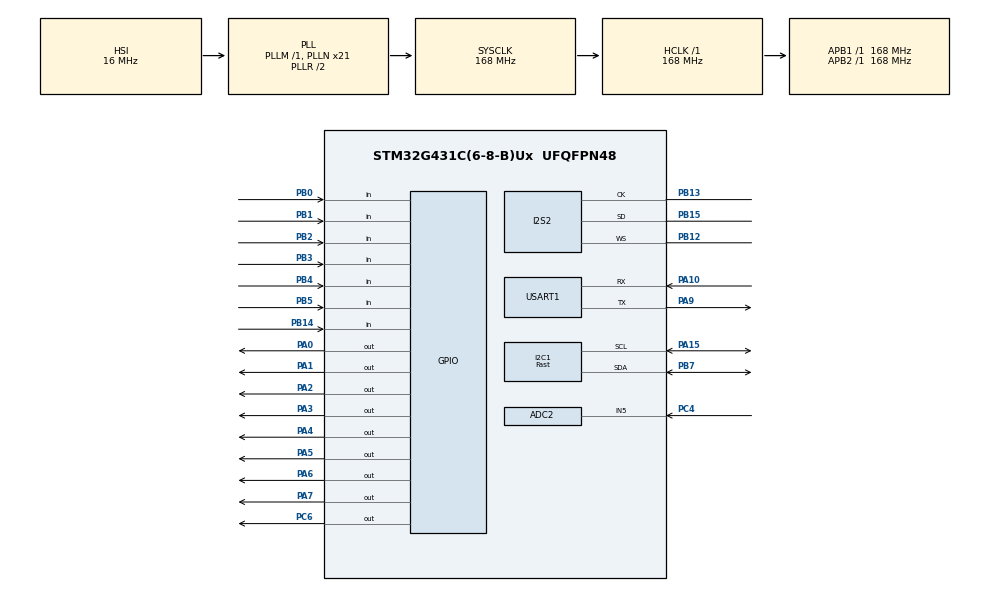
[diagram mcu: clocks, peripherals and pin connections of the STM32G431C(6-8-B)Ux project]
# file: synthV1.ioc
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ADC2.Channel-2\#ChannelRegularConversion=ADC_CHANNEL_5
ADC2.ContinuousConvMode=ENABLE
ADC2.NbrOfConversionFlag=1
ADC2.OffsetNumber-2\#ChannelRegularConversion=ADC_OFFSET_NONE
ADC2.Rank-2\#ChannelRegularConversion=1
ADC2.SamplingTime-2\#ChannelRegularConversion=ADC_SAMPLETIME_12CYCLES_5
Dma.ADC2.4.Direction=DMA_PERIPH_TO_MEMORY
Dma.ADC2.4.EventEnable=DISABLE
Dma.ADC2.4.Instance=DMA1_Channel5
Dma.ADC2.4.MemDataAlignment=DMA_MDATAALIGN_HALFWORD
Dma.ADC2.4.MemInc=DMA_MINC_ENABLE
Dma.ADC2.4.Mode=DMA_CIRCULAR
Dma.ADC2.4.PeriphDataAlignment=DMA_PDATAALIGN_HALFWORD
Dma.ADC2.4.PeriphInc=DMA_PINC_DISABLE
Dma.ADC2.4.Polarity=HAL_DMAMUX_REQ_GEN_RISING
Dma.ADC2.4.Priority=DMA_PRIORITY_LOW
Dma.ADC2.4.RequestNumber=1
Dma.ADC2.4.SignalID=NONE
Dma.ADC2.4.SyncEnable=DISABLE
Dma.ADC2.4.SyncPolarity=HAL_DMAMUX_SYNC_NO_EVENT
Dma.ADC2.4.SyncRequestNumber=1
Dma.ADC2.4.SyncSignalID=NONE
Dma.CORDIC_READ.0.Direction=DMA_PERIPH_TO_MEMORY
Dma.CORDIC_READ.0.EventEnable=DISABLE
Dma.CORDIC_READ.0.Instance=DMA1_Channel2
Dma.CORDIC_READ.0.MemDataAlignment=DMA_MDATAALIGN_WORD
Dma.CORDIC_READ.0.MemInc=DMA_MINC_ENABLE
Dma.CORDIC_READ.0.Mode=DMA_NORMAL
Dma.CORDIC_READ.0.PeriphDataAlignment=DMA_PDATAALIGN_WORD
Dma.CORDIC_READ.0.PeriphInc=DMA_PINC_DISABLE
Dma.CORDIC_READ.0.Polarity=HAL_DMAMUX_REQ_GEN_RISING
Dma.CORDIC_READ.0.Priority=DMA_PRIORITY_LOW
Dma.CORDIC_READ.0.RequestNumber=1
Dma.CORDIC_READ.0.SignalID=NONE
Dma.CORDIC_READ.0.SyncEnable=DISABLE
Dma.CORDIC_READ.0.SyncPolarity=HAL_DMAMUX_SYNC_NO_EVENT
Dma.CORDIC_READ.0.SyncRequestNumber=1
Dma.CORDIC_READ.0.SyncSignalID=NONE
Dma.CORDIC_WRITE.1.Direction=DMA_MEMORY_TO_PERIPH
Dma.CORDIC_WRITE.1.EventEnable=DISABLE
Dma.CORDIC_WRITE.1.Instance=DMA1_Channel3
Dma.CORDIC_WRITE.1.MemDataAlignment=DMA_MDATAALIGN_WORD
Dma.CORDIC_WRITE.1.MemInc=DMA_MINC_ENABLE
Dma.CORDIC_WRITE.1.Mode=DMA_NORMAL
Dma.CORDIC_WRITE.1.PeriphDataAlignment=DMA_PDATAALIGN_WORD
Dma.CORDIC_WRITE.1.PeriphInc=DMA_PINC_DISABLE
Dma.CORDIC_WRITE.1.Polarity=HAL_DMAMUX_REQ_GEN_RISING
Dma.CORDIC_WRITE.1.Priority=DMA_PRIORITY_LOW
Dma.CORDIC_WRITE.1.RequestNumber=1
Dma.CORDIC_WRITE.1.SignalID=NONE
Dma.CORDIC_WRITE.1.SyncEnable=DISABLE
Dma.CORDIC_WRITE.1.SyncPolarity=HAL_DMAMUX_SYNC_NO_EVENT
Dma.CORDIC_WRITE.1.SyncRequestNumber=1
Dma.CORDIC_WRITE.1.SyncSignalID=NONE
Dma.I2C1_TX.3.Direction=DMA_MEMORY_TO_PERIPH
Dma.I2C1_TX.3.EventEnable=DISABLE
Dma.I2C1_TX.3.Instance=DMA1_Channel4
Dma.I2C1_TX.3.MemDataAlignment=DMA_MDATAALIGN_BYTE
Dma.I2C1_TX.3.MemInc=DMA_MINC_ENABLE
Dma.I2C1_TX.3.Mode=DMA_NORMAL
Dma.I2C1_TX.3.PeriphDataAlignment=DMA_PDATAALIGN_BYTE
Dma.I2C1_TX.3.PeriphInc=DMA_PINC_DISABLE
Dma.I2C1_TX.3.Polarity=HAL_DMAMUX_REQ_GEN_RISING
Dma.I2C1_TX.3.Priority=DMA_PRIORITY_LOW
Dma.I2C1_TX.3.RequestNumber=1
Dma.I2C1_TX.3.SignalID=NONE
Dma.I2C1_TX.3.SyncEnable=DISABLE
Dma.I2C1_TX.3.SyncPolarity=HAL_DMAMUX_SYNC_NO_EVENT
Dma.I2C1_TX.3.SyncRequestNumber=1
Dma.I2C1_TX.3.SyncSignalID=NONE
Dma.Request0=CORDIC_READ
Dma.Request1=CORDIC_WRITE
Dma.Request2=SPI2_TX
Dma.Request3=I2C1_TX
Dma.Request4=ADC2
Dma.SPI2_TX.2.Direction=DMA_MEMORY_TO_PERIPH
Dma.SPI2_TX.2.EventEnable=DISABLE
Dma.SPI2_TX.2.Instance=DMA1_Channel1
Dma.SPI2_TX.2.MemDataAlignment=DMA_MDATAALIGN_HALFWORD
Dma.SPI2_TX.2.MemInc=DMA_MINC_ENABLE
Dma.SPI2_TX.2.Mode=DMA_CIRCULAR
Dma.SPI2_TX.2.PeriphDataAlignment=DMA_PDATAALIGN_HALFWORD
Dma.SPI2_TX.2.PeriphInc=DMA_PINC_DISABLE
Dma.SPI2_TX.2.Polarity=HAL_DMAMUX_REQ_GEN_RISING
Dma.SPI2_TX.2.Priority=DMA_PRIORITY_LOW
Dma.SPI2_TX.2.RequestNumber=1
Dma.SPI2_TX.2.SignalID=NONE
Dma.SPI2_TX.2.SyncEnable=DISABLE
Dma.SPI2_TX.2.SyncPolarity=HAL_DMAMUX_SYNC_NO_EVENT
Dma.SPI2_TX.2.SyncRequestNumber=1
Dma.SPI2_TX.2.SyncSignalID=NONE
I2C1.I2C_Speed_Mode=I2C_Fast
I2C1.Timing=0x20B21E5A
I2S2.AudioFreq=I2S_AUDIOFREQ_48K
I2S2.DataFormat=I2S_DATAFORMAT_16B
I2S2.ErrorAudioFreq=0.34 %
I2S2.FullDuplexMode=I2S_FULLDUPLEXMODE_DISABLE
I2S2.Instance=SPI$Index
I2S2.RealAudioFreq=48.165 KHz
I2S2.VirtualMode=I2S_MODE_MASTER
Mcu.Family=STM32G4
Mcu.Name=STM32G431C(6-8-B)Ux
Mcu.Package=UFQFPN48
NVIC.CORDIC_IRQn=true\:0\:0\:false\:false\:true\:true\:true\:true
NVIC.DMA1_Channel1_IRQn=true\:0\:0\:false\:false\:true\:false\:true\:true
NVIC.DMA1_Channel2_IRQn=true\:0\:0\:false\:false\:true\:false\:true\:true
NVIC.DMA1_Channel3_IRQn=true\:0\:0\:false\:false\:true\:false\:true\:true
NVIC.DMA1_Channel4_IRQn=true\:0\:0\:false\:false\:true\:false\:true\:true
NVIC.DMA1_Channel5_IRQn=true\:0\:0\:false\:false\:true\:false\:true\:true
NVIC.I2C1_EV_IRQn=true\:0\:0\:false\:false\:true\:true\:true\:true
NVIC.PriorityGroup=NVIC_PRIORITYGROUP_4
NVIC.SPI2_IRQn=true\:0\:0\:false\:false\:true\:true\:true\:true
NVIC.TIM2_IRQn=true\:0\:0\:false\:false\:true\:true\:true\:true
NVIC.TIM4_IRQn=true\:0\:0\:false\:false\:true\:true\:true\:true
NVIC.TIM7_IRQn=true\:0\:0\:false\:false\:true\:true\:true\:true
PA0.Signal=GPIO_Output
PA1.Signal=GPIO_Output
PA10.Mode=Asynchronous
PA10.Signal=USART1_RX
PA13.Mode=Serial_Wire
PA13.Signal=SYS_JTMS-SWDIO
PA14.Mode=Serial_Wire
PA14.Signal=SYS_JTCK-SWCLK
PA15.GPIO_Pu=GPIO_PULLUP
PA15.Mode=I2C
PA15.Signal=I2C1_SCL
PA2.Signal=GPIO_Output
PA3.Signal=GPIO_Output
PA4.Signal=GPIO_Output
PA5.Signal=GPIO_Output
PA6.Signal=GPIO_Output
PA7.Signal=GPIO_Output
PA9.Mode=Asynchronous
PA9.Signal=USART1_TX
PB0.GPIO_PuPd=GPIO_PULLDOWN
PB0.Signal=GPIO_Input
PB1.GPIO_PuPd=GPIO_PULLDOWN
PB1.Signal=GPIO_Input
PB12.Mode=Half_Duplex_Master
PB12.Signal=I2S2_WS
PB13.Mode=Half_Duplex_Master
PB13.Signal=I2S2_CK
PB14.GPIO_PuPd=GPIO_PULLUP
PB14.Signal=GPIO_Input
PB15.Mode=Half_Duplex_Master
PB15.Signal=I2S2_SD
PB2.Signal=GPIO_Input
PB3.GPIO_PuPd=GPIO_PULLDOWN
PB3.Signal=GPIO_Input
PB4.GPIO_PuPd=GPIO_PULLDOWN
PB4.Signal=GPIO_Input
PB5.GPIO_PuPd=GPIO_PULLDOWN
PB5.Signal=GPIO_Input
PB7.GPIO_Pu=GPIO_PULLUP
PB7.Mode=I2C
PB7.Signal=I2C1_SDA
PC4.Mode=IN5-Single-Ended
PC4.Signal=ADC2_IN5
PC6.Signal=GPIO_Output
PF0-OSC_IN.Mode=HSE-External-Oscillator
PF0-OSC_IN.Signal=RCC_OSC_IN
PF1-OSC_OUT.Mode=HSE-External-Oscillator
PF1-OSC_OUT.Signal=RCC_OSC_OUT
ProjectManager.HeapSize=0x200
ProjectManager.StackSize=0x400
ProjectManager.TargetToolchain=CMake
RCC.ADC12Freq_Value=168000000
RCC.AHBFreq_Value=168000000
RCC.APB1Freq_Value=168000000
RCC.APB1TimFreq_Value=168000000
RCC.APB2Freq_Value=168000000
RCC.APB2TimFreq_Value=168000000
RCC.CortexFreq_Value=168000000
RCC.EXTERNAL_CLOCK_VALUE=12288000
RCC.HCLKFreq_Value=168000000
RCC.HSE_VALUE=8000000
RCC.HSI48_VALUE=48000000
RCC.HSI_VALUE=16000000
RCC.LSE_VALUE=32768
RCC.PLLN=21
RCC.SYSCLKFreq_VALUE=168000000
RCC.SYSCLKSource=RCC_SYSCLKSOURCE_PLLCLK
RCC.USBFreq_Value=168000000
RCC.VCOOutputFreq_Value=336000000
TIM2.PeriodNoDither=2000
TIM2.Prescaler=167
TIM2.TIM_MasterOutputTrigger=TIM_TRGO_UPDATE
TIM4.PeriodNoDither=30000-1
TIM4.Prescaler=1680-1
TIM4.TIM_MasterOutputTrigger=TIM_TRGO_UPDATE
TIM7.PeriodNoDither=3499
TIM7.TIM_MasterOutputTrigger=TIM_TRGO_UPDATE
USART1.VirtualMode-Asynchronous=VM_ASYNC
VP_CORDIC_VS_CORDIC.Mode=CORDIC_Activate
VP_SYS_VS_DBSignals.Mode=DisableDeadBatterySignals
VP_TIM2_VS_ClockSourceINT.Mode=Internal
VP_TIM4_VS_ClockSourceINT.Mode=Internal
VP_TIM7_VS_ClockSourceINT.Mode=Enable_Timer
board=custom

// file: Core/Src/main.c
/* USER CODE BEGIN Header */
/**
 ******************************************************************************
 * @file           : main.c
 * @brief          : Main program body
 ******************************************************************************
 * @attention
 *
 * Copyright (c) 2026 STMicroelectronics.
 * All rights reserved.
 *
 * This software is licensed under terms that can be found in the LICENSE file
 * in the root directory of this software component.
 * If no LICENSE file comes with this software, it is provided AS-IS.
 *
 ******************************************************************************
 */
/* USER CODE END Header */
#include "main.h"

/* USER CODE BEGIN Includes */
#include "SH1106.h"
#include "fonts.h"
#include "stm32g431xx.h"
#include "stm32g4xx_hal_adc.h"
#include "stm32g4xx_hal_gpio.h"
#include <stdio.h>
#include <string.h>
/* USER CODE END Includes */

ADC_HandleTypeDef hadc2;
DMA_HandleTypeDef hdma_adc2;

CORDIC_HandleTypeDef hcordic;
DMA_HandleTypeDef hdma_cordic_read;
DMA_HandleTypeDef hdma_cordic_write;

I2C_HandleTypeDef hi2c1;
DMA_HandleTypeDef hdma_i2c1_tx;

I2S_HandleTypeDef hi2s2;
DMA_HandleTypeDef hdma_spi2_tx;

TIM_HandleTypeDef htim2;
TIM_HandleTypeDef htim4;
TIM_HandleTypeDef htim7;

UART_HandleTypeDef huart1;

/* USER CODE BEGIN PV */
volatile uint8_t flagSet = 0;
volatile uint8_t mainTimFlag = 0;
volatile uint8_t scanFlag = 0;
uint8_t prevState[8][6] = {0};

volatile uint32_t phaseAcc = 0;
volatile uint32_t phaseAcc2 = 0;
volatile uint32_t phaseStep2 = 0;
volatile uint32_t phaseStep = 0;
volatile int32_t vibrato = 0;
volatile int16_t bigassBuffer[512] = {0};
const int16_t aaaaSample[326] = {
    510,    510,    690,    690,    888,    888,    1212,   1212,   1541,
    1541,   1849,   1849,   2017,   2017,   2086,   2086,   1918,   1918,
    1719,   1719,   1436,   1436,   1027,   1027,   490,    490,    -71,
    -71,    -535,   -535,   -930,   -930,   -1392,  -1392,  -2016,  -2016,
    -2694,  -2694,  -3331,  -3331,  -3920,  -3920,  -4525,  -4525,  -5009,
    -5009,  -5231,  -5231,  -5121,  -5121,  -4758,  -4758,  -4292,  -4292,
    -3787,  -3787,  -3231,  -3231,  -2583,  -2583,  -1833,  -1833,  -1011,
    -1011,  -145,   -145,   868,    868,    2037,   2037,   3196,   3196,
    4223,   4223,   5073,   5073,   5822,   5822,   6493,   6493,   7026,
    7026,   7395,   7395,   7569,   7569,   7620,   7620,   7489,   7489,
    7150,   7150,   6602,   6602,   5938,   5938,   5237,   5237,   4411,
    4411,   3524,   3524,   2585,   2585,   1642,   1642,   702,    702,
    -201,   -201,   -998,   -998,   -1679,  -1679,  -2261,  -2261,  -2723,
    -2723,  -3076,  -3076,  -3341,  -3341,  -3423,  -3423,  -3311,  -3311,
    -3010,  -3010,  -2554,  -2554,  -1992,  -1992,  -1425,  -1425,  -886,
    -886,   -424,   -424,   -31,    -31,    349,    349,    698,    698,
    997,    997,    1144,   1144,   1100,   1100,   848,    848,    472,
    472,    34,     34,     -453,   -453,   -1057,  -1057,  -1822,  -1822,
    -2706,  -2706,  -3736,  -3736,  -4916,  -4916,  -6140,  -6140,  -7263,
    -7263,  -8228,  -8228,  -8971,  -8971,  -9619,  -9619,  -10240, -10240,
    -10765, -10765, -11140, -11140, -11075, -11075, -10460, -10460, -9281,
    -9281,  -7366,  -7366,  -4893,  -4893,  -2270,  -2270,  -133,   -133,
    1072,   1072,   1772,   1772,   2713,   2713,   4424,   4424,   6866,
    6866,   9551,   9551,   11982,  11982,  13921,  13921,  15185,  15185,
    15317,  15317,  14234,  14234,  12693,  12693,  11558,  11558,  11130,
    11130,  10743,  10743,  9699,   9699,   7890,   7890,   5328,   5328,
    2591,   2591,   -89,    -89,    -2595,  -2595,  -4592,  -4592,  -6022,
    -6022,  -7088,  -7088,  -8471,  -8471,  -10385, -10385, -12386, -12386,
    -13848, -13848, -14484, -14484, -14268, -14268, -13383, -13383, -12084,
    -12084, -10473, -10473, -8892,  -8892,  -7686,  -7686,  -6822,  -6822,
    -5814,  -5814,  -4320,  -4320,  -2374,  -2374,  -392,   -392,   1295,
    1295,   2839,   2839,   4320,   4320,   5678,   5678,   6622,   6622,
    7000,   7000,   7171,   7171,   7306,   7306,   7278,   7278,   6921,
    6921,   6246,   6246,   5524,   5524,   4918,   4918,   4457,   4457,
    3964,   3964,   3315,   3315,   2574,   2574,   1870,   1870,   1360,
    1360,   994,    994,    642,    642,    325,    325,    166,    166,
    182,    182};
uint32_t phaseTable[8][6] = {
    {15624207, 24801882, 39370534, 62496826, 99207528, 157482134},
    {16553270, 26276679, 41711627, 66213081, 105106715, 166846509},
    {17537579, 27839171, 44191930, 70150316, 111356685, 176767719},
    {18580418, 29494575, 46819719, 74321671, 117978298, 187278874},
    {19685267, 31248413, 49603764, 78741067, 124993653, 198415056},
    {20855814, 33106541, 52553357, 83423255, 132426162, 210213429},
    {22095965, 35075158, 55678342, 88383859, 140300631, 222713370},
    {23409859, 37160835, 58989149, 93639437, 148643341, 235956596},
};
uint32_t vibratoLUT[10] = {0,      89478,  178956, 268435, 357913,
                           447392, 536870, 626349, 715827, 805306};
volatile uint32_t counter;

volatile float attack;

volatile uint8_t countFlag;
volatile uint8_t tapFlag;

/* USER CODE END PV */

void SystemClock_Config(void);
static void MX_GPIO_Init(void);
static void MX_DMA_Init(void);
static void MX_CORDIC_Init(void);
static void MX_USART1_UART_Init(void);
static void MX_TIM4_Init(void);
static void MX_I2S2_Init(void);
static void MX_TIM2_Init(void);
static void MX_I2C1_Init(void);
static void MX_ADC2_Init(void);
static void MX_TIM7_Init(void);
/* USER CODE BEGIN PFP */

void countUp(void) { counter++; }

void fillFirstHalf() {
  int32_t smallassBufferIN[128] = {0};
  int32_t smallassBufferOUT[128] = {0};
  for (int i = 0; i < 128; i++) {
    smallassBufferIN[i] = phaseAcc;
    HAL_CORDIC_Calculate(&hcordic, &phaseAcc2, &vibrato, 1, HAL_MAX_DELAY);
    phaseAcc2 += phaseStep2;
    phaseAcc += phaseStep + (int32_t)((int64_t)vibrato * phaseStep >> 31) / 100;
  }
  HAL_CORDIC_Calculate(&hcordic, smallassBufferIN, smallassBufferOUT, 128,
                       HAL_MAX_DELAY);

  for (int i = 0; i < 128; i++) {
    bigassBuffer[2 * i] = (smallassBufferOUT[i] >> 16) * attack;
    bigassBuffer[(2 * i) + 1] = (smallassBufferOUT[i] >> 16) * attack;
  }

  /* Kasane teto just in case you need her

  for (int i = 0; i < 128; i++) {
    uint8_t i2 = ((uint64_t)phaseAcc * 163) >> 32;
    bigassBuffer[2 * i] = aaaaSample[2 * i2] >> 2;
    bigassBuffer[(2 * i) + 1] = aaaaSample[(2 * i2) + 1] >> 2;

    HAL_CORDIC_Calculate(&hcordic, &phaseAcc2, &vibrato, 1, HAL_MAX_DELAY);
    phaseAcc2 += phaseStep2;
    phaseAcc += phaseStep + (int32_t)((int64_t)vibrato * phaseStep >> 31) / 100;
  }
  */
}

void fillSecondHalf() {
  int32_t smallassBufferIN[128] = {0};
  int32_t smallassBufferOUT[128] = {0};
  for (int i = 0; i < 128; i++) {
    smallassBufferIN[i] = phaseAcc;
    phaseAcc += phaseStep;
  }
  HAL_CORDIC_Calculate(&hcordic, smallassBufferIN, smallassBufferOUT, 128,
                       HAL_MAX_DELAY);
  HAL_CORDIC_Calculate(&hcordic, &phaseAcc2, &vibrato, 1, HAL_MAX_DELAY);
  phaseAcc2 += phaseStep2;
  phaseAcc += phaseStep + (int32_t)((int64_t)vibrato * phaseStep >> 31) / 100;

  for (int i = 0; i < 128; i++) {

    bigassBuffer[(2 * i) + 256] = (smallassBufferOUT[i] >> 16) * attack;
    bigassBuffer[(2 * i) + 257] = (smallassBufferOUT[i] >> 16) * attack;
  }

  /* kasane teto, just in case
  for (int i = 0; i < 128; i++) {
    uint8_t i2 = ((uint64_t)phaseAcc * 163) >> 32;
    bigassBuffer[2 * i + 256] = aaaaSample[2 * i2] >> 2;
    bigassBuffer[(2 * i) + 257] = aaaaSample[2 * i2 + 1] >> 2;
    HAL_CORDIC_Calculate(&hcordic, &phaseAcc2, &vibrato, 1, HAL_MAX_DELAY);
    phaseAcc2 += phaseStep2;
    phaseAcc += phaseStep + (int32_t)((int64_t)vibrato * phaseStep >> 31) / 100;
  } */
}

/* USER CODE END PFP */

int main(void) {

  /* USER CODE BEGIN 1 */
  SystemCoreClockUpdate();

  /* USER CODE END 1 */

  /* MCU Configuration--------------------------------------------------------*/

  /* Reset of all peripherals, Initializes the Flash interface and the Systick.
   */
  HAL_Init();

  /* USER CODE BEGIN Init */
  SystemCoreClockUpdate();
  /* USER CODE END Init */

  /* Configure the system clock */
  SystemClock_Config();

  /* Initialize all configured peripherals */
  MX_GPIO_Init();
  MX_DMA_Init();
  MX_CORDIC_Init();
  MX_USART1_UART_Init();
  MX_TIM4_Init();
  MX_I2S2_Init();
  MX_TIM2_Init();
  MX_I2C1_Init();
  MX_ADC2_Init();
  MX_TIM7_Init();
  /* USER CODE BEGIN 2 */
  CORDIC_ConfigTypeDef cordic;
  cordic.Function = CORDIC_FUNCTION_SINE;
  cordic.Scale = CORDIC_SCALE_0;
  cordic.InSize = CORDIC_INSIZE_32BITS;
  cordic.OutSize = CORDIC_OUTSIZE_32BITS;
  cordic.Precision = CORDIC_PRECISION_6CYCLES;
  cordic.NbRead = CORDIC_NBREAD_1;
  cordic.NbWrite = CORDIC_NBWRITE_1;
  if (HAL_CORDIC_Configure(&hcordic, &cordic) != HAL_OK) {
    Error_Handler();
  }
  HAL_TIM_Base_Start_IT(&htim4);
  HAL_TIM_Base_Start_IT(&htim7);
  HAL_TIM_Base_Start_IT(&htim2);
  HAL_StatusTypeDef i2sStatus;
  i2sStatus = HAL_I2S_Transmit_DMA(&hi2s2, bigassBuffer, 512);
  SH1106_Init();
  char textBuffer[50] = {0};
  sprintf(textBuffer, "Hi lol");
  SH1106_Puts(textBuffer, &Font_11x18, SH1106_COLOR_WHITE);
  SH1106_UpdateScreen();

  uint32_t textCounter = 0;
  uint8_t vibratoPrev = 0;
  uint8_t vibratoCurr = 0;
  uint8_t vibratoState = 0;
  uint8_t vibratoCounter = 0;
  uint16_t attackCoeff = 1;
  /* USER CODE END 2 */

  /* Infinite loop */
  /* USER CODE BEGIN WHILE */
  while (1) {

    if (flagSet == 1) {
      flagSet = 0;
      HAL_GPIO_TogglePin(GPIOC, GPIO_PIN_6);
      textCounter += 1;
    }
    if (textCounter == 5) {
      sprintf(textBuffer, "hope ya fine");
      SH1106_GotoXY(16, 19);
      SH1106_Puts(textBuffer, &Font_7x10, SH1106_COLOR_WHITE);
      SH1106_UpdateScreen();
    }

    if (textCounter == 10) {
      sprintf(textBuffer, "Welcome to synth");
      SH1106_GotoXY(6, 31);
      SH1106_Puts(textBuffer, &Font_7x10, SH1106_COLOR_WHITE);
      SH1106_UpdateScreen();
    }

    if (textCounter == 15) {
      sprintf(textBuffer, "Press button");
      SH1106_Clear();
      SH1106_GotoXY(0, 0);
      SH1106_Puts(textBuffer, &Font_7x10, SH1106_COLOR_WHITE);
      sprintf(textBuffer, "for vibrato ctrl");
      SH1106_GotoXY(0, 11);
      SH1106_Puts(textBuffer, &Font_7x10, SH1106_COLOR_WHITE);
      SH1106_UpdateScreen();
    }

    vibratoCurr = HAL_GPIO_ReadPin(GPIOB, GPIO_PIN_14);

    if (vibratoCurr == 0 && vibratoPrev == 1) {
      vibratoState = !vibratoState;
      vibratoCounter += 1;
    }

    vibratoPrev = vibratoCurr; // update state AFTER the edge check
    if (vibratoState == 1 && vibratoCounter % 2 == 1 &&
        vibratoCounter % 3 != 1) {

      HAL_ADC_Start(&hadc2);
      HAL_ADC_PollForConversion(&hadc2, HAL_MAX_DELAY);
      uint32_t ADCData = HAL_ADC_GetValue(&hadc2);
      HAL_ADC_Stop(&hadc2);
      sprintf(textBuffer, "VIBRATO: ");
      SH1106_Clear();
      SH1106_GotoXY(0, 0);
      SH1106_Puts(textBuffer, &Font_11x18, SH1106_COLOR_WHITE);
      uint8_t vibratoInput = 9 - ((ADCData * 10) >> 12);
      sprintf(textBuffer, "%d", vibratoInput);
      SH1106_GotoXY(0, 19);
      SH1106_Puts(textBuffer, &Font_7x10, SH1106_COLOR_WHITE);
      SH1106_UpdateScreen();
      phaseStep2 = vibratoLUT[vibratoInput];
    }

    if (vibratoState == 1 && vibratoCounter % 3 == 1) {

      HAL_ADC_Start(&hadc2);
      HAL_ADC_PollForConversion(&hadc2, HAL_MAX_DELAY);
      uint32_t ADCData = HAL_ADC_GetValue(&hadc2);
      HAL_ADC_Stop(&hadc2);
      sprintf(textBuffer, "ATTACK: ");
      SH1106_Clear();
      SH1106_GotoXY(0, 0);
      SH1106_Puts(textBuffer, &Font_11x18, SH1106_COLOR_WHITE);
      uint8_t attackInput = 9 - ((ADCData * 10) >> 12);
      sprintf(textBuffer, "%d00 ms", attackInput);
      SH1106_GotoXY(0, 19);
      SH1106_Puts(textBuffer, &Font_7x10, SH1106_COLOR_WHITE);
      SH1106_UpdateScreen();
      attackCoeff = 100 * attackInput + 1;
    }

    /* matrix scan + buffer filling */
    if (scanFlag == 1) {
      scanFlag = 0;
      for (uint8_t i = 0; i < 8; i++) {
        HAL_GPIO_WritePin(GPIOA, 0x00FF, 0);
        HAL_GPIO_WritePin(GPIOA, 1 << i, 1);
        /* Give time, if you skip this loop you will get ghost notes */
        for (uint8_t d = 0; d < 100; d++) {
          __NOP();
        }
        for (uint8_t j = 0; j < 6; j++) {
          uint8_t pressed = HAL_GPIO_ReadPin(GPIOB, (1 << j));

          if (pressed != prevState[i][j]) {
            prevState[i][j] = pressed;

            if (pressed) {
              phaseStep = phaseTable[i][j];
              tapFlag = 1;
              attack = 0.0f;
            } else {
              phaseStep = 0;
              tapFlag = 0;
            }
          }
        }
      }
    }
    // tapFlag = 0;

    if (countFlag == 1) {
      countFlag = 0;
      if (tapFlag && attack < 1.0f) {
        attack += 1.0f / (48 * attackCoeff);
        if (attack >= 1.0f)
          attack = 1.0f;
      }
    }
    /* USER CODE END WHILE */

  }
}

void SystemClock_Config(void) {
  RCC_OscInitTypeDef RCC_OscInitStruct = {0};
  RCC_ClkInitTypeDef RCC_ClkInitStruct = {0};

  /** Configure the main internal regulator output voltage
   */
  HAL_PWREx_ControlVoltageScaling(PWR_REGULATOR_VOLTAGE_SCALE1_BOOST);

  /** Initializes the RCC Oscillators according to the specified parameters
   * in the RCC_OscInitTypeDef structure.
   */
  RCC_OscInitStruct.OscillatorType = RCC_OSCILLATORTYPE_HSI;
  RCC_OscInitStruct.HSIState = RCC_HSI_ON;
  RCC_OscInitStruct.HSICalibrationValue = RCC_HSICALIBRATION_DEFAULT;
  RCC_OscInitStruct.PLL.PLLState = RCC_PLL_ON;
  RCC_OscInitStruct.PLL.PLLSource = RCC_PLLSOURCE_HSI;
  RCC_OscInitStruct.PLL.PLLM = RCC_PLLM_DIV1;
  RCC_OscInitStruct.PLL.PLLN = 21;
  RCC_OscInitStruct.PLL.PLLP = RCC_PLLP_DIV2;
  RCC_OscInitStruct.PLL.PLLQ = RCC_PLLQ_DIV2;
  RCC_OscInitStruct.PLL.PLLR = RCC_PLLR_DIV2;
  if (HAL_RCC_OscConfig(&RCC_OscInitStruct) != HAL_OK) {
    Error_Handler();
  }

  /** Initializes the CPU, AHB and APB buses clocks
   */
  RCC_ClkInitStruct.ClockType = RCC_CLOCKTYPE_HCLK | RCC_CLOCKTYPE_SYSCLK |
                                RCC_CLOCKTYPE_PCLK1 | RCC_CLOCKTYPE_PCLK2;
  RCC_ClkInitStruct.SYSCLKSource = RCC_SYSCLKSOURCE_PLLCLK;
  RCC_ClkInitStruct.AHBCLKDivider = RCC_SYSCLK_DIV1;
  RCC_ClkInitStruct.APB1CLKDivider = RCC_HCLK_DIV1;
  RCC_ClkInitStruct.APB2CLKDivider = RCC_HCLK_DIV1;

  if (HAL_RCC_ClockConfig(&RCC_ClkInitStruct, FLASH_LATENCY_4) != HAL_OK) {
    Error_Handler();
  }
}

static void MX_ADC2_Init(void) {

  ADC_ChannelConfTypeDef sConfig = {0};

  /** Common config
   */
  hadc2.Instance = ADC2;
  hadc2.Init.ClockPrescaler = ADC_CLOCK_SYNC_PCLK_DIV4;
  hadc2.Init.Resolution = ADC_RESOLUTION_12B;
  hadc2.Init.DataAlign = ADC_DATAALIGN_RIGHT;
  hadc2.Init.GainCompensation = 0;
  hadc2.Init.ScanConvMode = ADC_SCAN_DISABLE;
  hadc2.Init.EOCSelection = ADC_EOC_SINGLE_CONV;
  hadc2.Init.LowPowerAutoWait = DISABLE;
  hadc2.Init.ContinuousConvMode = ENABLE;
  hadc2.Init.NbrOfConversion = 1;
  hadc2.Init.DiscontinuousConvMode = DISABLE;
  hadc2.Init.ExternalTrigConv = ADC_SOFTWARE_START;
  hadc2.Init.ExternalTrigConvEdge = ADC_EXTERNALTRIGCONVEDGE_NONE;
  hadc2.Init.DMAContinuousRequests = DISABLE;
  hadc2.Init.Overrun = ADC_OVR_DATA_PRESERVED;
  hadc2.Init.OversamplingMode = DISABLE;
  if (HAL_ADC_Init(&hadc2) != HAL_OK) {
    Error_Handler();
  }

  /** Configure Regular Channel
   */
  sConfig.Channel = ADC_CHANNEL_5;
  sConfig.Rank = ADC_REGULAR_RANK_1;
  sConfig.SamplingTime = ADC_SAMPLETIME_12CYCLES_5;
  sConfig.SingleDiff = ADC_SINGLE_ENDED;
  sConfig.OffsetNumber = ADC_OFFSET_NONE;
  sConfig.Offset = 0;
  if (HAL_ADC_ConfigChannel(&hadc2, &sConfig) != HAL_OK) {
    Error_Handler();
  }
}

static void MX_CORDIC_Init(void) {

  hcordic.Instance = CORDIC;
  if (HAL_CORDIC_Init(&hcordic) != HAL_OK) {
    Error_Handler();
  }
}

static void MX_I2C1_Init(void) {

  hi2c1.Instance = I2C1;
  hi2c1.Init.Timing = 0x20B21E5A;
  hi2c1.Init.OwnAddress1 = 0;
  hi2c1.Init.AddressingMode = I2C_ADDRESSINGMODE_7BIT;
  hi2c1.Init.DualAddressMode = I2C_DUALADDRESS_DISABLE;
  hi2c1.Init.OwnAddress2 = 0;
  hi2c1.Init.OwnAddress2Masks = I2C_OA2_NOMASK;
  hi2c1.Init.GeneralCallMode = I2C_GENERALCALL_DISABLE;
  hi2c1.Init.NoStretchMode = I2C_NOSTRETCH_DISABLE;
  if (HAL_I2C_Init(&hi2c1) != HAL_OK) {
    Error_Handler();
  }

  /** Configure Analogue filter
   */
  if (HAL_I2CEx_ConfigAnalogFilter(&hi2c1, I2C_ANALOGFILTER_ENABLE) != HAL_OK) {
    Error_Handler();
  }

  /** Configure Digital filter
   */
  if (HAL_I2CEx_ConfigDigitalFilter(&hi2c1, 0) != HAL_OK) {
    Error_Handler();
  }
}

static void MX_I2S2_Init(void) {

  hi2s2.Instance = SPI2;
  hi2s2.Init.Mode = I2S_MODE_MASTER_TX;
  hi2s2.Init.Standard = I2S_STANDARD_PHILIPS;
  hi2s2.Init.DataFormat = I2S_DATAFORMAT_16B;
  hi2s2.Init.MCLKOutput = I2S_MCLKOUTPUT_DISABLE;
  hi2s2.Init.AudioFreq = I2S_AUDIOFREQ_48K;
  hi2s2.Init.CPOL = I2S_CPOL_LOW;
  if (HAL_I2S_Init(&hi2s2) != HAL_OK) {
    Error_Handler();
  }
}

static void MX_TIM2_Init(void) {

  TIM_ClockConfigTypeDef sClockSourceConfig = {0};
  TIM_MasterConfigTypeDef sMasterConfig = {0};

  htim2.Instance = TIM2;
  htim2.Init.Prescaler = 167;
  htim2.Init.CounterMode = TIM_COUNTERMODE_UP;
  htim2.Init.Period = 2000;
  htim2.Init.ClockDivision = TIM_CLOCKDIVISION_DIV1;
  htim2.Init.AutoReloadPreload = TIM_AUTORELOAD_PRELOAD_DISABLE;
  if (HAL_TIM_Base_Init(&htim2) != HAL_OK) {
    Error_Handler();
  }
  sClockSourceConfig.ClockSource = TIM_CLOCKSOURCE_INTERNAL;
  if (HAL_TIM_ConfigClockSource(&htim2, &sClockSourceConfig) != HAL_OK) {
    Error_Handler();
  }
  sMasterConfig.MasterOutputTrigger = TIM_TRGO_UPDATE;
  sMasterConfig.MasterSlaveMode = TIM_MASTERSLAVEMODE_DISABLE;
  if (HAL_TIMEx_MasterConfigSynchronization(&htim2, &sMasterConfig) != HAL_OK) {
    Error_Handler();
  }
}

static void MX_TIM4_Init(void) {

  TIM_ClockConfigTypeDef sClockSourceConfig = {0};
  TIM_MasterConfigTypeDef sMasterConfig = {0};

  htim4.Instance = TIM4;
  htim4.Init.Prescaler = 1680 - 1;
  htim4.Init.CounterMode = TIM_COUNTERMODE_UP;
  htim4.Init.Period = 29999;
  htim4.Init.ClockDivision = TIM_CLOCKDIVISION_DIV1;
  htim4.Init.AutoReloadPreload = TIM_AUTORELOAD_PRELOAD_DISABLE;
  if (HAL_TIM_Base_Init(&htim4) != HAL_OK) {
    Error_Handler();
  }
  sClockSourceConfig.ClockSource = TIM_CLOCKSOURCE_INTERNAL;
  if (HAL_TIM_ConfigClockSource(&htim4, &sClockSourceConfig) != HAL_OK) {
    Error_Handler();
  }
  sMasterConfig.MasterOutputTrigger = TIM_TRGO_UPDATE;
  sMasterConfig.MasterSlaveMode = TIM_MASTERSLAVEMODE_DISABLE;
  if (HAL_TIMEx_MasterConfigSynchronization(&htim4, &sMasterConfig) != HAL_OK) {
    Error_Handler();
  }
}

static void MX_TIM7_Init(void) {

  TIM_MasterConfigTypeDef sMasterConfig = {0};

  htim7.Instance = TIM7;
  htim7.Init.Prescaler = 0;
  htim7.Init.CounterMode = TIM_COUNTERMODE_UP;
  htim7.Init.Period = 3499;
  htim7.Init.AutoReloadPreload = TIM_AUTORELOAD_PRELOAD_DISABLE;
  if (HAL_TIM_Base_Init(&htim7) != HAL_OK) {
    Error_Handler();
  }
  sMasterConfig.MasterOutputTrigger = TIM_TRGO_UPDATE;
  sMasterConfig.MasterSlaveMode = TIM_MASTERSLAVEMODE_DISABLE;
  if (HAL_TIMEx_MasterConfigSynchronization(&htim7, &sMasterConfig) != HAL_OK) {
    Error_Handler();
  }
}

static void MX_USART1_UART_Init(void) {

  huart1.Instance = USART1;
  huart1.Init.BaudRate = 115200;
  huart1.Init.WordLength = UART_WORDLENGTH_8B;
  huart1.Init.StopBits = UART_STOPBITS_1;
  huart1.Init.Parity = UART_PARITY_NONE;
  huart1.Init.Mode = UART_MODE_TX_RX;
  huart1.Init.HwFlowCtl = UART_HWCONTROL_NONE;
  huart1.Init.OverSampling = UART_OVERSAMPLING_16;
  huart1.Init.OneBitSampling = UART_ONE_BIT_SAMPLE_DISABLE;
  huart1.Init.ClockPrescaler = UART_PRESCALER_DIV1;
  huart1.AdvancedInit.AdvFeatureInit = UART_ADVFEATURE_NO_INIT;
  if (HAL_UART_Init(&huart1) != HAL_OK) {
    Error_Handler();
  }
  if (HAL_UARTEx_SetTxFifoThreshold(&huart1, UART_TXFIFO_THRESHOLD_1_8) !=
      HAL_OK) {
    Error_Handler();
  }
  if (HAL_UARTEx_SetRxFifoThreshold(&huart1, UART_RXFIFO_THRESHOLD_1_8) !=
      HAL_OK) {
    Error_Handler();
  }
  if (HAL_UARTEx_DisableFifoMode(&huart1) != HAL_OK) {
    Error_Handler();
  }
}

static void MX_DMA_Init(void) {

  /* DMA controller clock enable */
  __HAL_RCC_DMAMUX1_CLK_ENABLE();
  __HAL_RCC_DMA1_CLK_ENABLE();

  /* DMA interrupt init */
  /* DMA1_Channel1_IRQn interrupt configuration */
  HAL_NVIC_SetPriority(DMA1_Channel1_IRQn, 0, 0);
  HAL_NVIC_EnableIRQ(DMA1_Channel1_IRQn);
  /* DMA1_Channel2_IRQn interrupt configuration */
  HAL_NVIC_SetPriority(DMA1_Channel2_IRQn, 0, 0);
  HAL_NVIC_EnableIRQ(DMA1_Channel2_IRQn);
  /* DMA1_Channel3_IRQn interrupt configuration */
  HAL_NVIC_SetPriority(DMA1_Channel3_IRQn, 0, 0);
  HAL_NVIC_EnableIRQ(DMA1_Channel3_IRQn);
  /* DMA1_Channel4_IRQn interrupt configuration */
  HAL_NVIC_SetPriority(DMA1_Channel4_IRQn, 0, 0);
  HAL_NVIC_EnableIRQ(DMA1_Channel4_IRQn);
  /* DMA1_Channel5_IRQn interrupt configuration */
  HAL_NVIC_SetPriority(DMA1_Channel5_IRQn, 0, 0);
  HAL_NVIC_EnableIRQ(DMA1_Channel5_IRQn);
}

static void MX_GPIO_Init(void) {
  GPIO_InitTypeDef GPIO_InitStruct = {0};

  /* GPIO Ports Clock Enable */
  __HAL_RCC_GPIOF_CLK_ENABLE();
  __HAL_RCC_GPIOA_CLK_ENABLE();
  __HAL_RCC_GPIOC_CLK_ENABLE();
  __HAL_RCC_GPIOB_CLK_ENABLE();

  /*Configure GPIO pin Output Level */
  HAL_GPIO_WritePin(GPIOA,
                    GPIO_PIN_0 | GPIO_PIN_1 | GPIO_PIN_2 | GPIO_PIN_3 |
                        GPIO_PIN_4 | GPIO_PIN_5 | GPIO_PIN_6 | GPIO_PIN_7,
                    GPIO_PIN_RESET);

  /*Configure GPIO pin Output Level */
  HAL_GPIO_WritePin(GPIOC, GPIO_PIN_6, GPIO_PIN_RESET);

  /*Configure GPIO pins : PA0 PA1 PA2 PA3
                           PA4 PA5 PA6 PA7 */
  GPIO_InitStruct.Pin = GPIO_PIN_0 | GPIO_PIN_1 | GPIO_PIN_2 | GPIO_PIN_3 |
                        GPIO_PIN_4 | GPIO_PIN_5 | GPIO_PIN_6 | GPIO_PIN_7;
  GPIO_InitStruct.Mode = GPIO_MODE_OUTPUT_PP;
  GPIO_InitStruct.Pull = GPIO_NOPULL;
  GPIO_InitStruct.Speed = GPIO_SPEED_FREQ_LOW;
  HAL_GPIO_Init(GPIOA, &GPIO_InitStruct);

  /*Configure GPIO pins : PB0 PB1 PB3 PB4
                           PB5 */
  GPIO_InitStruct.Pin =
      GPIO_PIN_0 | GPIO_PIN_1 | GPIO_PIN_3 | GPIO_PIN_4 | GPIO_PIN_5;
  GPIO_InitStruct.Mode = GPIO_MODE_INPUT;
  GPIO_InitStruct.Pull = GPIO_PULLDOWN;
  HAL_GPIO_Init(GPIOB, &GPIO_InitStruct);

  /*Configure GPIO pin : PB2 */
  GPIO_InitStruct.Pin = GPIO_PIN_2;
  GPIO_InitStruct.Mode = GPIO_MODE_INPUT;
  GPIO_InitStruct.Pull = GPIO_NOPULL;
  HAL_GPIO_Init(GPIOB, &GPIO_InitStruct);

  /*Configure GPIO pin : PB14 */
  GPIO_InitStruct.Pin = GPIO_PIN_14;
  GPIO_InitStruct.Mode = GPIO_MODE_INPUT;
  GPIO_InitStruct.Pull = GPIO_PULLUP;
  HAL_GPIO_Init(GPIOB, &GPIO_InitStruct);

  /*Configure GPIO pin : PC6 */
  GPIO_InitStruct.Pin = GPIO_PIN_6;
  GPIO_InitStruct.Mode = GPIO_MODE_OUTPUT_PP;
  GPIO_InitStruct.Pull = GPIO_NOPULL;
  GPIO_InitStruct.Speed = GPIO_SPEED_FREQ_LOW;
  HAL_GPIO_Init(GPIOC, &GPIO_InitStruct);

}

/* USER CODE BEGIN 4 */
void HAL_TIM_PeriodElapsedCallback(TIM_HandleTypeDef *htim) {
  if (htim->Instance == TIM7) {
    countUp();
    countFlag = 1;
  }
  if (htim->Instance == TIM4) {
    flagSet = 1;
  }
  if (htim->Instance == TIM2) {
    scanFlag = 1;
  }
}

void HAL_I2S_TxHalfCpltCallback(I2S_HandleTypeDef *hi2s) { fillFirstHalf(); }
void HAL_I2S_TxCpltCallback(I2S_HandleTypeDef *hi2s) { fillSecondHalf(); }

/* USER CODE END 4 */

void Error_Handler(void) {
  __disable_irq();
  while (1) {
  }
}
#ifdef USE_FULL_ASSERT
/**
 * @brief  Reports the name of the source file and the source line number
 *         where the assert_param error has occurred.
 * @param  file: pointer to the source file name
 * @param  line: assert_param error line source number
 * @retval None
 */
void assert_failed(uint8_t *file, uint32_t line) {
  /* USER CODE BEGIN 6 */
  /* User can add his own implementation to report the file name and line
     number, ex: printf("Wrong parameters value: file %s on line %d\r\n", file,
     line) */
  /* USER CODE END 6 */
}
#endif /* USE_FULL_ASSERT */
